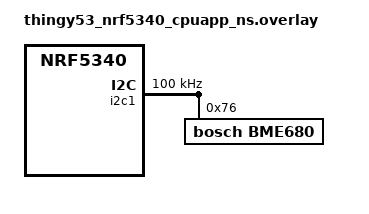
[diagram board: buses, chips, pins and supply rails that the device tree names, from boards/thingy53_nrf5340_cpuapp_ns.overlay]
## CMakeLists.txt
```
cmake_minimum_required(VERSION 3.20.0)
find_package(Zephyr REQUIRED HINTS $ENV{ZEPHYR_BASE})

project(BME688_environmental)

target_sources(app PRIVATE src/main.c)
```

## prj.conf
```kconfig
# Copyright (c) 2016 Intel Corporation
#
# SPDX-License-Identifier: Apache-2.0
#

# Enable the I2C driver
CONFIG_I2C=y

# Enable semsor driver
CONFIG_SENSOR=y

# disable logging for TF-M
CONFIG_TFM_SECURE_UART=n
CONFIG_TFM_LOG_LEVEL_SILENCE=y

# Enable floating point format specifiers
CONFIG_CBPRINTF_FP_SUPPORT=y
```

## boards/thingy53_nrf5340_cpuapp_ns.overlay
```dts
/*
 * Copyright (c) 2021 Nordic Semiconductor ASA
 *
 * SPDX-License-Identifier: LicenseRef-Nordic-5-Clause
 */

 &i2c1 {
	compatible = "nordic,nrf-twim";
	status = "okay";
    clock-frequency = <I2C_BITRATE_STANDARD>; 
	
	bme680: bme680@76 {
		compatible = "bosch,bme680";
		reg = <0x76>;
		label = "BME680";
	};
};
```

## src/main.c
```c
/*
 * Copyright (c) 2012-2014 Wind River Systems, Inc.
 *
 * SPDX-License-Identifier: Apache-2.0
 */


#include <zephyr/kernel.h>
#include <zephyr/device.h>
#include <zephyr/devicetree.h>

/* #include <zephyr/zephyr.h>  */
#include <zephyr/drivers/sensor.h>

/* Include the header file of the I2C API */
#include <zephyr/drivers/i2c.h>

/* Include the header file of printk() */
#include <zephyr/sys/printk.h>


void main(void)
{
	printk("BME688 Example Thingy:53! %s\n", CONFIG_BOARD);
	k_sleep(K_MSEC(5000));

	const struct device *bme = DEVICE_DT_GET_ONE(bosch_bme680);
	struct sensor_value temp, press, humidity, gas_res;


	if (!device_is_ready(bme)) {
		printk("sensor: device not ready.\n");
		return;
	}
	printk("Device %p name is %s\n", bme, bme->name);

	while (1) {
		sensor_sample_fetch(bme);
		sensor_channel_get(bme, SENSOR_CHAN_AMBIENT_TEMP, &temp);
		sensor_channel_get(bme, SENSOR_CHAN_PRESS, &press);
		sensor_channel_get(bme, SENSOR_CHAN_HUMIDITY, &humidity);
		sensor_channel_get(bme, SENSOR_CHAN_GAS_RES, &gas_res);

		printk("TEMPERATURE: %d.%06d | PRESSURE: %d.%06d | HUMIDITY: %d.%06d | GAS: %d.%06d\n",
				temp.val1, temp.val2, press.val1, press.val2,
				humidity.val1, humidity.val2, gas_res.val1, gas_res.val2);

                k_sleep(K_MSEC(1000));
	}
}
```
